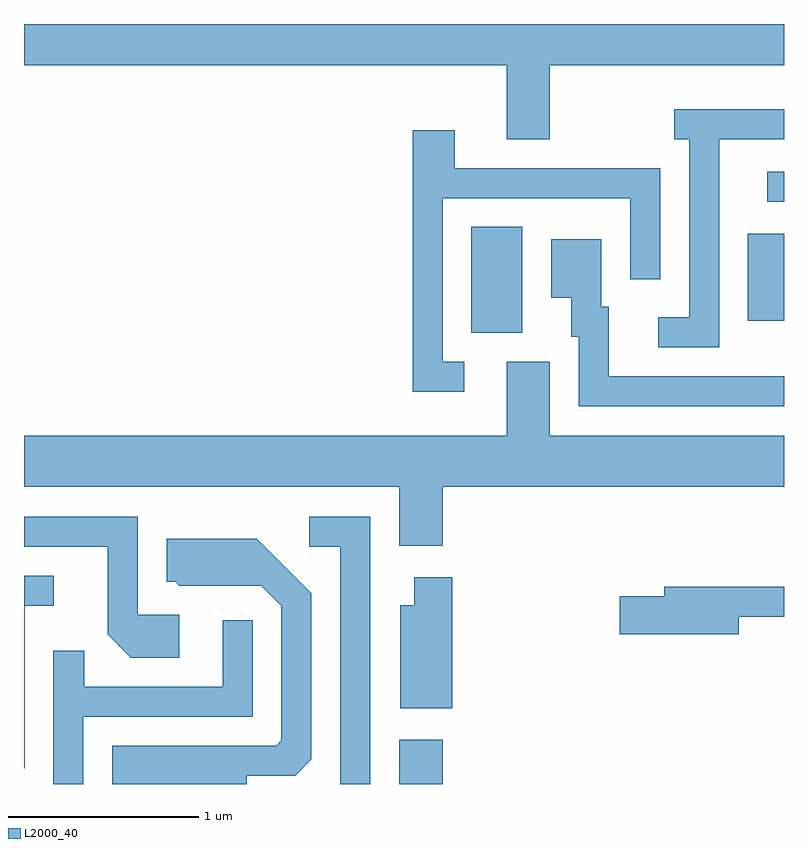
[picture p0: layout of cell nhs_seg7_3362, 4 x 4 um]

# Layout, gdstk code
import gdstk
lib = gdstk.Library(unit=1e-6, precision=1e-09)
def R(c, l, rs):  # rectangles x0, y0, x1, y1
    for r in rs: c.add(gdstk.rectangle(r[:2], r[2:], *l))
def P(c, l, *ps):  # polygons
    for p in ps: c.add(gdstk.Polygon(p, *l))
L2000_40 = (2000, 40)

nhs_seg7_3362 = lib.new_cell('nhs_seg7_3362')
R(nhs_seg7_3362, L2000_40, [(289.586,1768.252,289.814,1768.484), (289.966,1770.626,290.234,1771.184), (291.421,1770.691,291.611,1771.149), (291.523,1771.316,291.611,1771.474)])
P(nhs_seg7_3362, L2000_40, [(290.379,1772.036),(291.611,1772.036),(291.611,1772.252),(287.611,1772.252),(287.611,1772.036),(290.151,1772.036),(290.151,1771.646),(290.379,1771.646)],
  [(291.269,1771.646),(291.611,1771.646),(291.611,1771.804),(291.033,1771.804),(291.033,1771.646),(291.111,1771.646),(291.111,1770.709),(290.948,1770.709),(290.948,1770.551),(291.269,1770.551)],
  [(289.928,1770.474),(289.814,1770.474),(289.814,1771.336),(290.801,1771.336),(290.801,1770.908),(290.959,1770.908),(290.959,1771.494),(289.879,1771.494),(289.879,1771.694),(289.656,1771.694),(289.656,1770.316),(289.928,1770.316)],
  [(291.611,1770.399),(290.689,1770.399),(290.689,1770.764),(290.649,1770.764),(290.649,1771.119),(290.386,1771.119),(290.386,1770.811),(290.491,1770.811),(290.491,1770.606),(290.531,1770.606),(290.531,1770.241),(291.611,1770.241)],
  [(289.814,1769.816),(291.611,1769.816),(291.611,1770.084),(290.379,1770.084),(290.379,1770.474),(290.151,1770.474),(290.151,1770.084),(287.611,1770.084),(287.611,1769.816),(289.586,1769.816),(289.586,1769.506),(289.814,1769.506)],
  [(289.434,1769.659),(289.113,1769.659),(289.113,1769.501),(289.276,1769.501),(289.276,1768.252),(289.434,1768.252)],
  [(288.429,1769.144),(288.209,1769.144),(288.209,1769.659),(287.611,1769.659),(287.611,1769.501),(288.051,1769.501),(288.051,1769.039),(288.174,1768.916),(288.429,1768.916)],
  [(288.784,1768.296),(289.039,1768.296),(289.124,1768.382),(289.124,1769.257),(288.837,1769.544),(288.361,1769.544),(288.361,1769.316),(288.409,1769.316),(288.429,1769.296),(288.859,1769.296),(288.966,1769.189),(288.966,1768.482),(288.939,1768.454),(288.076,1768.454),(288.076,1768.252),(288.784,1768.252)],
  [(287.614,1769.191),(287.768,1769.191),(287.768,1769.349),(287.611,1769.349),(287.611,1768.336),(287.614,1768.336)],
  [(289.864,1769.339),(289.666,1769.339),(289.666,1769.194),(289.591,1769.194),(289.591,1768.651),(289.864,1768.651)],
  [(291.374,1769.131),(291.611,1769.131),(291.611,1769.289),(290.981,1769.289),(290.981,1769.239),(290.746,1769.239),(290.746,1769.041),(291.374,1769.041)],
  [(287.924,1768.606),(288.814,1768.606),(288.814,1769.113),(288.656,1769.113),(288.656,1768.764),(287.929,1768.764),(287.929,1768.953),(287.766,1768.953),(287.766,1768.252),(287.924,1768.252)])

lib.write_gds('nhs_seg7_3362.gds')
